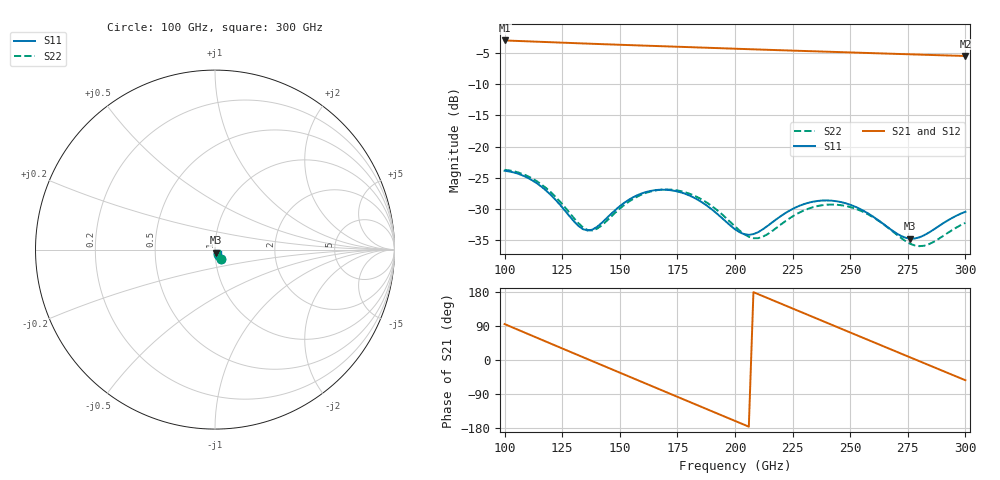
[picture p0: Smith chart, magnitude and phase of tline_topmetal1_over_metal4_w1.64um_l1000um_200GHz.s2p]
#  GHZ S DB R 50
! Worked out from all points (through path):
!   101 points, 100 GHz to 300 GHz, reference 50 ohm
!   highest |S21| = -3.00 dB at 100 GHz (marker M1); lowest = -5.5 dB at 300 GHz (marker M2)
!   group delay of S21, straight-line fit = 7.06 ps
!   lowest |S11| = -34.7 dB at 276 GHz (marker M3), VSWR 1.04, Z = 50.6 - j1.76 ohm
!   |S11| at or under -10 dB: start of sweep to end of sweep
!   |S22| runs from -35.9 to -23.7 dB; largest |S21 - S12| = 1.1e-13
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100  -23.86 -56.9  -3.00 94.8  -3.00 94.8  -23.71 -57.3
108  -24.64 -70.4  -3.11 74.2  -3.11 74.2  -24.40 -71.2
116  -26.41 -81.7  -3.22 53.6  -3.22 53.6  -26.05 -83.0
126  -30.16 -85.9  -3.36 28.0  -3.36 28.0  -29.62 -89.4
134  -33.21 -69.1  -3.47 7.5  -3.47 7.5  -32.91 -76.1
140  -32.87 -48.5  -3.55 -7.9  -3.55 -7.9  -33.16 -55.2
150  -29.53 -38.7  -3.69 -33.4  -3.69 -33.4  -29.92 -41.7
160  -27.42 -48.0  -3.81 -58.9  -3.81 -58.9  -27.59 -49.9
168  -26.89 -59.3  -3.91 -79.3  -3.91 -79.3  -26.89 -61.2
182  -28.13 -78.7  -4.09 -115.0  -4.09 -115.0  -27.80 -81.9
192  -30.67 -85.7  -4.22 -140.4  -4.22 -140.4  -30.09 -91.9
200  -33.22 -79.3  -4.32 -160.7  -4.32 -160.7  -32.77 -90.5
208  -34.00 -60.0  -4.42 179.0  -4.42 179.0  -34.66 -74.2
216  -32.17 -47.8  -4.51 158.7  -4.51 158.7  -33.54 -56.6
226  -29.79 -50.5  -4.63 133.4  -4.63 133.4  -30.95 -54.7
234  -28.80 -59.1  -4.73 113.1  -4.73 113.1  -29.68 -62.1
242  -28.65 -69.4  -4.82 92.9  -4.82 92.9  -29.27 -72.3
250  -29.30 -79.3  -4.91 72.7  -4.91 72.7  -29.68 -82.7
268  -33.36 -85.1  -5.12 27.2  -5.12 27.2  -33.44 -94.9
276  -34.73 -71.4  -5.22 7.0  -5.22 7.0  -35.54 -85.6
288  -32.83 -53.7  -5.35 -23.2  -5.35 -23.2  -34.85 -62.4
300  -30.43 -57.9  -5.48 -53.4  -5.48 -53.4  -32.20 -61.6
